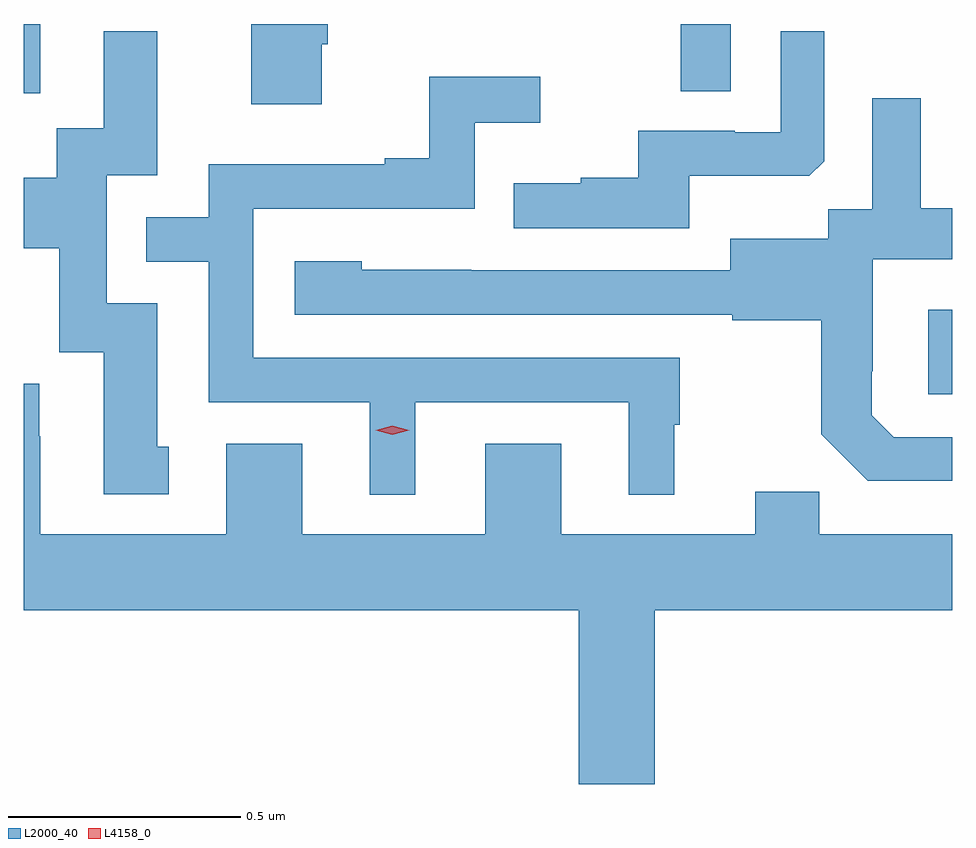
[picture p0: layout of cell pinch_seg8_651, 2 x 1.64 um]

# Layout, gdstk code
import gdstk
lib = gdstk.Library(unit=1e-6, precision=1e-09)
def R(c, l, rs):  # rectangles x0, y0, x1, y1
    for r in rs: c.add(gdstk.rectangle(r[:2], r[2:], *l))
def P(c, l, *ps):  # polygons
    for p in ps: c.add(gdstk.Polygon(p, *l))
L2000_40 = (2000, 40)
L4158_0 = (4158, 0)

pinch_seg8_651 = lib.new_cell('pinch_seg8_651')
R(pinch_seg8_651, L2000_40, [(225.701,1100.982,225.753,1101.163), (223.753,1101.63,223.789,1101.779), (225.168,1101.634,225.276,1101.779)])
P(pinch_seg8_651, L2000_40, [(224.395,1101.735),(224.408,1101.735),(224.408,1101.779),(224.243,1101.779),(224.243,1101.606),(224.395,1101.606)],
  [(225.187,1101.452),(225.445,1101.452),(225.477,1101.483),(225.477,1101.763),(225.384,1101.763),(225.384,1101.546),(225.284,1101.546),(225.284,1101.549),(225.077,1101.549),(225.077,1101.448),(224.953,1101.448),(224.953,1101.436),(224.809,1101.436),(224.809,1101.339),(225.187,1101.339)],
  [(224.065,1100.868),(224.041,1100.868),(224.041,1101.177),(223.932,1101.177),(223.932,1101.453),(224.041,1101.453),(224.041,1101.763),(223.925,1101.763),(223.925,1101.554),(223.824,1101.554),(223.824,1101.448),(223.753,1101.448),(223.753,1101.296),(223.829,1101.296),(223.829,1101.072),(223.925,1101.072),(223.925,1100.766),(224.065,1100.766)],
  [(224.596,1100.964),(225.056,1100.964),(225.056,1100.765),(225.154,1100.765),(225.154,1100.916),(225.166,1100.916),(225.166,1101.06),(224.247,1101.06),(224.247,1101.381),(224.724,1101.381),(224.724,1101.566),(224.866,1101.566),(224.866,1101.665),(224.626,1101.665),(224.626,1101.49),(224.531,1101.49),(224.531,1101.477),(224.151,1101.477),(224.151,1101.363),(224.017,1101.363),(224.017,1101.267),(224.151,1101.267),(224.151,1100.964),(224.498,1100.964),(224.498,1100.765),(224.596,1100.765)],
  [(225.753,1100.889),(225.627,1100.889),(225.58,1100.936),(225.58,1101.031),(225.582,1101.031),(225.582,1101.272),(225.753,1101.272),(225.753,1101.382),(225.685,1101.382),(225.685,1101.619),(225.581,1101.619),(225.581,1101.38),(225.486,1101.38),(225.486,1101.316),(225.275,1101.316),(225.275,1101.249),(224.717,1101.249),(224.717,1101.25),(224.481,1101.25),(224.481,1101.268),(224.337,1101.268),(224.337,1101.153),(225.279,1101.153),(225.279,1101.141),(225.471,1101.141),(225.471,1100.895),(225.571,1100.795),(225.753,1100.795)],
  [(225.112,1100.516),(225.753,1100.516),(225.753,1100.68),(225.467,1100.68),(225.467,1100.771),(225.329,1100.771),(225.329,1100.68),(224.911,1100.68),(224.911,1100.875),(224.747,1100.875),(224.747,1100.68),(224.353,1100.68),(224.353,1100.875),(224.189,1100.875),(224.189,1100.68),(223.789,1100.68),(223.789,1100.891),(223.786,1100.891),(223.786,1101.004),(223.753,1101.004),(223.753,1100.516),(224.948,1100.516),(224.948,1100.142),(225.112,1100.142)])
P(pinch_seg8_651, L4158_0, [(224.547,1100.894),(224.511,1100.904),(224.511,1100.904),(224.511,1100.904),(224.547,1100.914),(224.583,1100.904),(224.583,1100.904),(224.583,1100.904)])

lib.write_gds('pinch_seg8_651.gds')
